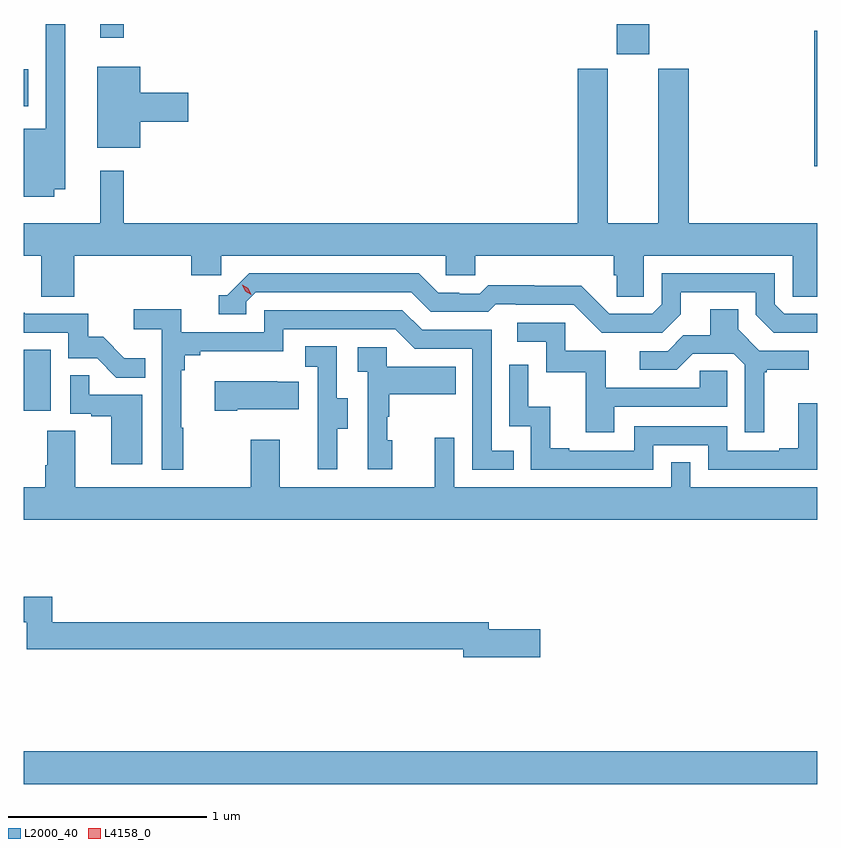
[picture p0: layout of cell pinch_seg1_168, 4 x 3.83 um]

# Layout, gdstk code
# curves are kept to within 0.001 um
import gdstk
lib = gdstk.Library(unit=1e-6, precision=1e-09)
def R(c, l, rs):  # rectangles x0, y0, x1, y1
    for r in rs: c.add(gdstk.rectangle(r[:2], r[2:], *l))
def P(c, l, *ps):  # polygons
    for p in ps: c.add(gdstk.Polygon(p, *l))
L2000_40 = (2000, 40)
L4158_0 = (4158, 0)

pinch_seg1_168 = lib.new_cell('pinch_seg1_168')
R(pinch_seg1_168, L2000_40, [(1125.498,551.732,1129.498,551.896), (1125.498,553.614,1125.634,553.921), (1129.483,554.848,1129.498,555.529), (1125.498,555.149,1125.52,555.337), (1128.488,555.411,1128.652,555.564), (1125.884,555.495,1126.001,555.564)])
P(pinch_seg1_168, L2000_40, [(1125.652,554.732),(1125.706,554.732),(1125.706,555.564),(1125.609,555.564),(1125.609,555.037),(1125.498,555.037),(1125.498,554.693),(1125.652,554.693)],
  [(1126.084,555.071),(1126.327,555.071),(1126.327,555.218),(1126.084,555.218),(1126.084,555.349),(1125.869,555.349),(1125.869,554.939),(1126.084,554.939)],
  [(1125.752,554.396),(1126.343,554.396),(1126.343,554.298),(1126.494,554.298),(1126.494,554.396),(1127.625,554.396),(1127.625,554.298),(1127.775,554.298),(1127.775,554.396),(1128.473,554.396),(1128.473,554.298),(1128.487,554.298),(1128.487,554.188),(1128.624,554.188),(1128.624,554.396),(1129.374,554.396),(1129.374,554.188),(1129.498,554.188),(1129.498,554.56),(1128.851,554.56),(1128.851,555.339),(1128.698,555.339),(1128.698,554.56),(1128.442,554.56),(1128.442,555.339),(1128.29,555.339),(1128.29,554.56),(1126.001,554.56),(1126.001,554.824),(1125.883,554.824),(1125.883,554.56),(1125.498,554.56),(1125.498,554.396),(1125.587,554.396),(1125.587,554.188),(1125.752,554.188)],
  [(1129.498,554.103),(1129.332,554.103),(1129.284,554.151),(1129.284,554.307),(1128.714,554.307),(1128.714,554.151),(1128.666,554.103),(1128.45,554.103),(1128.308,554.245),(1128.072,554.245),(1128.072,554.248),(1127.839,554.248),(1127.797,554.205),(1127.694,554.205),(1127.694,554.208),(1127.587,554.208),(1127.488,554.307),(1126.635,554.307),(1126.524,554.196),(1126.481,554.196),(1126.481,554.1),(1126.62,554.1),(1126.62,554.163),(1126.668,554.211),(1127.451,554.211),(1127.55,554.112),(1127.839,554.112),(1127.878,554.151),(1127.977,554.151),(1127.977,554.148),(1128.27,554.148),(1128.411,554.007),(1128.717,554.007),(1128.811,554.101),(1128.811,554.211),(1129.188,554.211),(1129.188,554.097),(1129.278,554.007),(1129.498,554.006)],
  [(1126.303,553.529),(1126.291,553.529),(1126.291,553.817),(1126.31,553.817),(1126.31,553.894),(1126.387,553.894),(1126.387,553.913),(1126.806,553.913),(1126.806,554.025),(1127.37,554.025),(1127.469,553.926),(1127.76,553.926),(1127.76,553.317),(1127.969,553.317),(1127.969,553.413),(1127.856,553.413),(1127.856,554.022),(1127.506,554.022),(1127.407,554.121),(1126.71,554.121),(1126.71,554.01),(1126.292,554.01),(1126.292,554.126),(1126.053,554.126),(1126.053,554.024),(1126.194,554.024),(1126.194,553.317),(1126.303,553.317)],
  [(1129.231,553.809),(1129.243,553.809),(1129.243,553.82),(1129.456,553.82),(1129.456,553.917),(1129.206,553.917),(1129.099,554.024),(1129.099,554.126),(1128.959,554.126),(1128.959,553.994),(1128.824,553.994),(1128.744,553.914),(1128.603,553.914),(1128.603,553.821),(1128.79,553.821),(1128.871,553.902),(1129.077,553.902),(1129.134,553.845),(1129.134,553.506),(1129.231,553.506)],
  [(1126.109,553.879),(1126.005,553.879),(1125.898,553.986),(1125.822,553.986),(1125.822,554.103),(1125.503,554.103),(1125.503,554.108),(1125.498,554.108),(1125.498,554.007),(1125.723,554.007),(1125.723,553.878),(1125.867,553.878),(1125.965,553.78),(1126.109,553.78)],
  [(1128.475,553.635),(1129.044,553.635),(1129.044,553.815),(1128.907,553.815),(1128.907,553.731),(1128.433,553.731),(1128.433,553.917),(1128.228,553.917),(1128.228,554.058),(1127.985,554.058),(1127.985,553.962),(1128.132,553.962),(1128.132,553.809),(1128.331,553.809),(1128.331,553.506),(1128.475,553.506)],
  [(1127.077,553.522),(1127.131,553.522),(1127.131,553.677),(1127.076,553.677),(1127.076,553.94),(1126.917,553.94),(1126.917,553.837),(1126.98,553.837),(1126.98,553.533),(1126.979,553.533),(1126.979,553.32),(1127.077,553.32)],
  [(1127.356,553.464),(1127.331,553.464),(1127.331,553.583),(1127.341,553.583),(1127.341,553.697),(1127.675,553.697),(1127.675,553.837),(1127.328,553.837),(1127.328,553.935),(1127.181,553.935),(1127.181,553.811),(1127.232,553.811),(1127.232,553.32),(1127.356,553.32)],
  [(1128.672,553.44),(1128.948,553.44),(1128.948,553.317),(1129.498,553.317),(1129.498,553.651),(1129.403,553.651),(1129.403,553.426),(1129.307,553.426),(1129.307,553.413),(1129.044,553.413),(1129.044,553.536),(1128.576,553.536),(1128.576,553.413),(1128.247,553.413),(1128.247,553.426),(1128.152,553.426),(1128.152,553.634),(1128.042,553.634),(1128.042,553.846),(1127.946,553.846),(1127.946,553.536),(1128.054,553.536),(1128.054,553.317),(1128.672,553.317)],
  [(1126.096,553.695),(1125.827,553.695),(1125.827,553.793),(1125.732,553.793),(1125.732,553.599),(1125.839,553.599),(1125.839,553.587),(1125.938,553.587),(1125.938,553.344),(1126.096,553.344)],
  [(1126.573,553.622),(1126.883,553.622),(1126.883,553.759),(1126.775,553.759),(1126.775,553.762),(1126.461,553.762),(1126.461,553.615),(1126.573,553.615)],
  [(1129.498,553.228),(1128.858,553.228),(1128.858,553.355),(1128.762,553.355),(1128.762,553.228),(1127.667,553.228),(1127.667,553.477),(1127.57,553.477),(1127.57,553.228),(1126.789,553.228),(1126.789,553.468),(1126.642,553.468),(1126.642,553.228),(1125.757,553.228),(1125.757,553.514),(1125.617,553.514),(1125.617,553.34),(1125.605,553.34),(1125.605,553.228),(1125.498,553.228),(1125.498,553.064),(1129.498,553.064)],
  [(1128.103,552.512),(1127.842,552.512),(1127.842,552.548),(1125.641,552.548),(1125.641,552.676),(1125.498,552.676),(1125.498,552.547),(1125.513,552.547),(1125.513,552.412),(1127.714,552.412),(1127.714,552.37),(1128.103,552.37)])
P(pinch_seg1_168, L4158_0, [(1126.645,554.198),(1126.614,554.217),(1126.598,554.25),(1126.598,554.25),(1126.599,554.25),(1126.629,554.231),(1126.645,554.198),(1126.645,554.198)])

lib.write_gds('pinch_seg1_168.gds')
